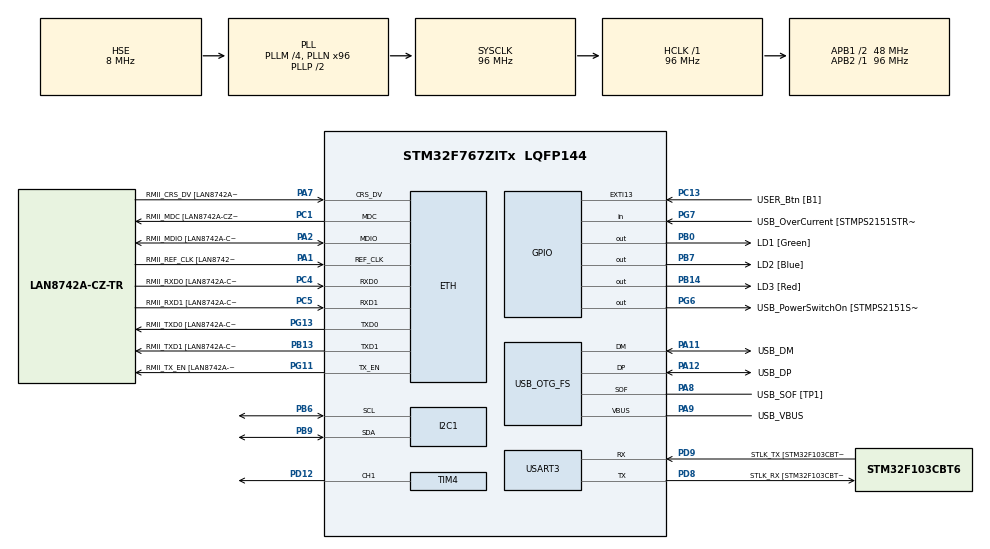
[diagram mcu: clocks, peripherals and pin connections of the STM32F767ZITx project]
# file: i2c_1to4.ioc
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CORTEX_M7.default_mode_Activation=1
ETH.MediaInterface=HAL_ETH_RMII_MODE
ETH.PHY_Name=LAN8742A_PHY_ADDRESS
ETH.PHY_Value=0
ETH.PhyAddress=0
I2C1.Timing=0x20303E5D
Mcu.Family=STM32F7
Mcu.Name=STM32F767ZITx
Mcu.Package=LQFP144
NVIC.PriorityGroup=NVIC_PRIORITYGROUP_4
NVIC.TIM3_IRQn=true\:0\:0\:false\:false\:true\:true\:true\:true
NVIC.USART3_IRQn=true\:0\:0\:false\:false\:true\:true\:true\:true
PA1.GPIO_Label=RMII_REF_CLK [LAN8742A-CZ-TR_REFCLK0]
PA1.Mode=RMII
PA1.Signal=ETH_REF_CLK
PA10.GPIO_Label=USB_ID
PA10.Signal=USB_OTG_FS_ID
PA11.GPIO_Label=USB_DM
PA11.Mode=Device_Only
PA11.Signal=USB_OTG_FS_DM
PA12.GPIO_Label=USB_DP
PA12.Mode=Device_Only
PA12.Signal=USB_OTG_FS_DP
PA13.GPIO_Label=TMS
PA13.Mode=Serial_Wire
PA13.Signal=SYS_JTMS-SWDIO
PA14.GPIO_Label=TCK
PA14.Mode=Serial_Wire
PA14.Signal=SYS_JTCK-SWCLK
PA2.GPIO_Label=RMII_MDIO [LAN8742A-CZ-TR_MDIO]
PA2.Mode=RMII
PA2.Signal=ETH_MDIO
PA7.GPIO_Label=RMII_CRS_DV [LAN8742A-CZ-TR_CRS_DV]
PA7.Mode=RMII
PA7.Signal=ETH_CRS_DV
PA8.GPIO_Label=USB_SOF [TP1]
PA8.Mode=Activate_SOF_FS
PA8.Signal=USB_OTG_FS_SOF
PA9.GPIO_Label=USB_VBUS
PA9.Mode=Activate_VBUS
PA9.Signal=USB_OTG_FS_VBUS
PB0.GPIO_Label=LD1 [Green]
PB0.Signal=GPIO_Output
PB13.GPIO_Label=RMII_TXD1 [LAN8742A-CZ-TR_TXD1]
PB13.Mode=RMII
PB13.Signal=ETH_TXD1
PB14.GPIO_Label=LD3 [Red]
PB14.Signal=GPIO_Output
PB3.GPIO_Label=SWO
PB3.Signal=SYS_JTDO-SWO
PB6.Mode=I2C
PB6.Signal=I2C1_SCL
PB7.GPIO_Label=LD2 [Blue]
PB7.Signal=GPIO_Output
PB9.Mode=I2C
PB9.Signal=I2C1_SDA
PC1.GPIO_Label=RMII_MDC [LAN8742A-CZ-TR_MDC]
PC1.Mode=RMII
PC1.Signal=ETH_MDC
PC13.GPIO_Label=USER_Btn [B1]
PC13.Signal=GPXTI13
PC14/OSC32_IN.Mode=LSE-External-Oscillator
PC14/OSC32_IN.Signal=RCC_OSC32_IN
PC15/OSC32_OUT.Mode=LSE-External-Oscillator
PC15/OSC32_OUT.Signal=RCC_OSC32_OUT
PC4.GPIO_Label=RMII_RXD0 [LAN8742A-CZ-TR_RXD0]
PC4.Mode=RMII
PC4.Signal=ETH_RXD0
PC5.GPIO_Label=RMII_RXD1 [LAN8742A-CZ-TR_RXD1]
PC5.Mode=RMII
PC5.Signal=ETH_RXD1
PD12.Signal=S_TIM4_CH1
PD8.GPIO_Label=STLK_RX [STM32F103CBT6_PA3]
PD8.Mode=Asynchronous
PD8.Signal=USART3_TX
PD9.GPIO_Label=STLK_TX [STM32F103CBT6_PA2]
PD9.Mode=Asynchronous
PD9.Signal=USART3_RX
PG11.GPIO_Label=RMII_TX_EN [LAN8742A-CZ-TR_TXEN]
PG11.Mode=RMII
PG11.Signal=ETH_TX_EN
PG13.GPIO_Label=RMII_TXD0 [LAN8742A-CZ-TR_TXD0]
PG13.Mode=RMII
PG13.Signal=ETH_TXD0
PG6.GPIO_Label=USB_PowerSwitchOn [STMPS2151STR_EN]
PG6.Signal=GPIO_Output
PG7.GPIO_Label=USB_OverCurrent [STMPS2151STR_FAULT]
PG7.Signal=GPIO_Input
PH0/OSC_IN.GPIO_Label=MCO [STM32F103CBT6_PA8]
PH0/OSC_IN.Mode=HSE-External-Clock-Source
PH0/OSC_IN.Signal=RCC_OSC_IN
PH1/OSC_OUT.Mode=HSE-External-Clock-Source
PH1/OSC_OUT.Signal=RCC_OSC_OUT
ProjectManager.HeapSize=0x200
ProjectManager.StackSize=0x400
ProjectManager.TargetToolchain=CMake
RCC.48MHZClocksFreq_Value=24000000
RCC.AHBFreq_Value=96000000
RCC.APB1CLKDivider=RCC_HCLK_DIV2
RCC.APB1Freq_Value=48000000
RCC.APB1TimFreq_Value=96000000
RCC.APB2Freq_Value=96000000
RCC.APB2TimFreq_Value=96000000
RCC.CortexFreq_Value=96000000
RCC.HCLKFreq_Value=96000000
RCC.HSE_VALUE=8000000
RCC.HSI_VALUE=16000000
RCC.PLLM=4
RCC.PLLMUL=RCC_PLL_MUL9
RCC.PLLN=96
RCC.PLLQ=4
RCC.PRESCALERUSB=RCC_USBCLKSOURCE_PLL_DIV1_5
RCC.SYSCLKFreq_VALUE=96000000
RCC.SYSCLKSource=RCC_SYSCLKSOURCE_PLLCLK
RCC.SYSCLKSourceVirtual=RCC_SYSCLKSOURCE_PLLCLK
RCC.USBFreq_Value=48000000
RCC.VCOOutputFreq_Value=192000000
SH.S_TIM4_CH1.0=TIM4_CH1,PWM Generation1 CH1
TIM3.Period=9999
TIM3.Prescaler=9599
TIM4.Channel-PWM\ Generation1\ CH1=TIM_CHANNEL_1
TIM4.Period=999
TIM4.Prescaler=95
USART3.VirtualMode-Asynchronous=VM_ASYNC
USB_OTG_FS.VirtualMode=Device_Only
VP_TIM3_VS_ClockSourceINT.Mode=Internal
VP_TIM4_VS_ClockSourceINT.Mode=Internal
board=NUCLEO-F767ZI

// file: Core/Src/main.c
/* USER CODE BEGIN Header */
/**
  ******************************************************************************
  * @file           : main.c
  * @brief          : Main program body
  ******************************************************************************
  * @attention
  *
  * Copyright (c) 2026 STMicroelectronics.
  * All rights reserved.
  *
  * This software is licensed under terms that can be found in the LICENSE file
  * in the root directory of this software component.
  * If no LICENSE file comes with this software, it is provided AS-IS.
  *
  ******************************************************************************
  */
/* USER CODE END Header */
#include "main.h"
#include "eth.h"
#include "i2c.h"
#include "tim.h"
#include "usart.h"
#include "usb_otg.h"
#include "gpio.h"

/* USER CODE BEGIN Includes */
#include "bh1750.h"
#include "string.h"
#include "stdio.h"
#include "stdbool.h"
#include "cJSON.h"
/* USER CODE END Includes */

/* USER CODE BEGIN PD */
#define MAX_LOGGER 100U
/* USER CODE END PD */

/* USER CODE BEGIN PV */
bool readLightRequest = false; // Flag to indicate a light intensity read request
bool printLightIntensity = false; // Flag to indicate whether to print light intensity

uint8_t rxByte; // Buffer for ONE byte of data from UART, so we can receive various length messages
char rxCommand[32]; // Buffer for whole message we receive
uint8_t rxLength = 0; // Length of the message from UART
bool rxDiscard = false; // In case if we write something after ";" character, so it wont be registered
bool commandReady = false; // Flag to indicate when we can use fucniton HandleCommand

uint16_t freq = 1; // Default frequency value

bool logger = false; // Flag for eneabling logging data
uint16_t loggerIndex = 0; // Starting index for light intensity array
uint16_t loggerFinish = 2; // Default logger array length
float loggerArray[MAX_LOGGER]; // Array for storing lux measurment

// Controlling led with PWM
float PWMvalue = 0.0f;
float PWMstep = 0.5f;
uint16_t PWMchannel = 0;
uint16_t compare_value;
//Static characteristics for led-sensor
bool do_characteristic = false;

/* USER CODE END PV */

void SystemClock_Config(void);
static void MPU_Config(void);

/* USER CODE BEGIN 0 */

void SendJSONArray(float* loggerArray)
{
  uint8_t opening = '[';
  uint8_t closing[] = "]\r\n";
  char part_of_message[10];
  HAL_UART_Transmit(&huart3,&opening,1,HAL_MAX_DELAY); // Opening brackets
  for(uint8_t i = 0; i < loggerFinish; i++)
  {
    char *separator = (i == 0) ? "" : ","; // Before out lux value we have ot either place nothing or comma
    snprintf(part_of_message, sizeof(part_of_message), "%s%.3f", separator, loggerArray[i]); // Putting together separator and value
    HAL_UART_Transmit(&huart3, (uint8_t*)part_of_message,(uint16_t)strlen(part_of_message),HAL_MAX_DELAY); //Sending vlaue iwth separator
  }
  HAL_UART_Transmit(&huart3,(uint8_t*)closing, sizeof(closing)-1, HAL_MAX_DELAY); // Closing brackets
}

bool AddCharacteristicPoint(cJSON *points, float pwmPercent, float lux)
{
  cJSON *point = cJSON_CreateObject();
  if (point == NULL)
  {
    return false;
  }

  if (cJSON_AddNumberToObject(point, "pwm_percent", pwmPercent) == NULL ||
      cJSON_AddNumberToObject(point, "illuminance_lux", lux) == NULL ||
      !cJSON_AddItemToArray(points, point))
  {
    cJSON_Delete(point);
    return false;
  }

  return true;
}

void HAL_TIM_PeriodElapsedCallback(TIM_HandleTypeDef *htim)
{
  if(htim->Instance == TIM3)
  {
    readLightRequest = true; // Set the flag to indicate a light intensity read request
  }
}

void HAL_UART_RxCpltCallback(UART_HandleTypeDef *huart)
{
  if(huart->Instance == USART3)
  {
    char receivedChar = (char)rxByte; // Convert the received byte to a character
    if(receivedChar == ';') // Check for command termination
    {
      rxCommand[rxLength] = '\0'; // Add \0 so it will be compatible with fucntions that expect C string
      commandReady = true; // Set the flag to indicate a complete command is ready
      rxLength = 0; // Reset the length for the next command
      rxDiscard = false; // Reset discard flag
    }
    else if(receivedChar == '\r' || receivedChar == '\n') // Ignore carriage return and newline characters
    {

    }
    else if(rxLength < sizeof(rxCommand) - 1) // Check if there's space in the buffer
    {
      if(!rxDiscard)
      {
        rxCommand[rxLength] = receivedChar; // Store the character
        rxLength++; // Increment index of array iwth our command
      }
    }
    else
    {
      rxDiscard = true; // If buffer is full, discard next bytes
    }
    HAL_UART_Receive_IT(&huart3, &rxByte, 1); // Continue receiving the next byte
  }
}

void HandleCommand(const char* command)
{
  if(strcmp(command, "print_on") == 0)
  {
    printLightIntensity = true;
  }
  else if(strcmp(command, "print_off") == 0)
  {
    printLightIntensity = false;
  }
  else if (sscanf(command, "freq=%hu", &freq) == 1) // Check if the command is a frequency setting command
  {
    uint16_t newARR = (uint16_t)((1.0f / (freq * 0.0001f)) - 1); // New autoreload value
    // Restart timer with new autorealod
    HAL_TIM_Base_Stop_IT(&htim3);
    __HAL_TIM_SET_COUNTER(&htim3, 0);
    __HAL_TIM_CLEAR_FLAG(&htim3, TIM_FLAG_UPDATE);
    __HAL_TIM_SET_AUTORELOAD(&htim3, newARR);
    HAL_TIM_Base_Start_IT(&htim3);
  }
  else if(sscanf(command, "logger=%hu", &loggerFinish) == 1)
  {
    logger = true; // Enable logger
  }
  else if(sscanf(command, "PWM%hu=%f", &PWMchannel, &PWMvalue) == 2)
  {
    if(PWMchannel == 1 && PWMvalue>=0.0f && PWMvalue<=100.0f)
    {
      __HAL_TIM_SET_COMPARE(&htim4,TIM_CHANNEL_1,PWMvalue*10); // Change the PWM value
      compare_value = __HAL_TIM_GET_COMPARE(&htim4,TIM_CHANNEL_1); // For debugging purposes
    }
  }
  else if(strcmp(command, "JSON_log") == 0)
  {
    do_characteristic = true;
  }
}

void LogLight(float lux)
{
  if(logger && (loggerIndex <= loggerFinish))
  {
    loggerArray[loggerIndex] = lux;
    loggerIndex++;
    if(loggerIndex == loggerFinish)
    {
      logger = false;
      loggerIndex = 0;
      SendJSONArray(loggerArray);
    }
  }
}
/* USER CODE END 0 */

int main(void)
{

  /* MPU Configuration--------------------------------------------------------*/
  MPU_Config();

  /* MCU Configuration--------------------------------------------------------*/

  /* Reset of all peripherals, Initializes the Flash interface and the Systick. */
  HAL_Init();

  /* Configure the system clock */
  SystemClock_Config();

  /* Initialize all configured peripherals */
  MX_GPIO_Init();
  MX_ETH_Init();
  MX_USART3_UART_Init();
  MX_USB_OTG_FS_PCD_Init();
  MX_I2C1_Init();
  MX_TIM3_Init();
  MX_TIM4_Init();
  /* USER CODE BEGIN 2 */
  BH1750 sensor;
  uint8_t BH1750_ADDRESS = 0b0100011; // BH1750 I2C address (shifted for HAL)
  float lux = 0.0f;
  char message[30]; // Message buffer for UART transmission
  BH1750_Init(&sensor, &hi2c1, BH1750_ADDRESS);
  HAL_TIM_Base_Start_IT(&htim3); // Start the timer for periodic measurements
  HAL_UART_Receive_IT(&huart3, &rxByte, 1); // Start UART reception in interrupt mode
  HAL_TIM_PWM_Start(&htim4,TIM_CHANNEL_1);
  //Static characteristic
  cJSON *points = NULL;

  /* USER CODE END 2 */

  /* Infinite loop */
  /* USER CODE BEGIN WHILE */
  while (1)
  {
    if(commandReady)
    {
      commandReady = false; // Reset the flag
      HandleCommand(rxCommand); // Process the received command
    }
    if (do_characteristic && points == NULL)
    {
      points = cJSON_CreateArray();

      if (points == NULL)
      {
        do_characteristic = false;
      }
      else
      {
        PWMvalue = 0.0f;
        __HAL_TIM_SET_COMPARE(&htim4, TIM_CHANNEL_1, 0);
        readLightRequest = false;
      }
    }
    if(readLightRequest)
    {
      readLightRequest = false; // Reset the flag
      if(BH1750_ReadLightIntensity(&sensor, &lux) == HAL_OK)
      {
        snprintf(message,sizeof(message),"Light Intensity: %.2f lux\r\n",lux);
        LogLight(lux);
        if(printLightIntensity)
        {
          HAL_UART_Transmit(&huart3, (uint8_t*)message, strlen(message), HAL_MAX_DELAY);
        }
        if(do_characteristic && points != NULL)
        {
          AddCharacteristicPoint(points,PWMvalue,lux);
          if(PWMvalue+PWMstep>100.0f)
          {
            do_characteristic = false;
            char *json = cJSON_PrintUnformatted(points);
            PWMvalue = 0.0f;
            __HAL_TIM_SET_COMPARE(&htim4, TIM_CHANNEL_1, 0);
            if(json != NULL)
            {
              HAL_UART_Transmit(&huart3,(uint8_t*)json,(uint16_t)strlen(json), HAL_MAX_DELAY);
              HAL_UART_Transmit(&huart3, (uint8_t *)"\r\n", 2, HAL_MAX_DELAY);
              cJSON_free(json);
            }
            cJSON_Delete(points);
            points = NULL;
          }
          else
          {
            PWMvalue+=PWMstep;
            __HAL_TIM_SET_COMPARE(&htim4,TIM_CHANNEL_1,PWMvalue*10); // Change the PWM value
          }
        }
      }
      else
      {
        // Handle error in reading light intensity
      }
    }
    /* USER CODE END WHILE */

  }
}

void SystemClock_Config(void)
{
  RCC_OscInitTypeDef RCC_OscInitStruct = {0};
  RCC_ClkInitTypeDef RCC_ClkInitStruct = {0};

  /** Configure LSE Drive Capability
  */
  HAL_PWR_EnableBkUpAccess();

  /** Configure the main internal regulator output voltage
  */
  __HAL_RCC_PWR_CLK_ENABLE();
  __HAL_PWR_VOLTAGESCALING_CONFIG(PWR_REGULATOR_VOLTAGE_SCALE3);

  /** Initializes the RCC Oscillators according to the specified parameters
  * in the RCC_OscInitTypeDef structure.
  */
  RCC_OscInitStruct.OscillatorType = RCC_OSCILLATORTYPE_HSE;
  RCC_OscInitStruct.HSEState = RCC_HSE_BYPASS;
  RCC_OscInitStruct.PLL.PLLState = RCC_PLL_ON;
  RCC_OscInitStruct.PLL.PLLSource = RCC_PLLSOURCE_HSE;
  RCC_OscInitStruct.PLL.PLLM = 4;
  RCC_OscInitStruct.PLL.PLLN = 96;
  RCC_OscInitStruct.PLL.PLLP = RCC_PLLP_DIV2;
  RCC_OscInitStruct.PLL.PLLQ = 4;
  RCC_OscInitStruct.PLL.PLLR = 2;
  if (HAL_RCC_OscConfig(&RCC_OscInitStruct) != HAL_OK)
  {
    Error_Handler();
  }

  /** Activate the Over-Drive mode
  */
  if (HAL_PWREx_EnableOverDrive() != HAL_OK)
  {
    Error_Handler();
  }

  /** Initializes the CPU, AHB and APB buses clocks
  */
  RCC_ClkInitStruct.ClockType = RCC_CLOCKTYPE_HCLK|RCC_CLOCKTYPE_SYSCLK
                              |RCC_CLOCKTYPE_PCLK1|RCC_CLOCKTYPE_PCLK2;
  RCC_ClkInitStruct.SYSCLKSource = RCC_SYSCLKSOURCE_PLLCLK;
  RCC_ClkInitStruct.AHBCLKDivider = RCC_SYSCLK_DIV1;
  RCC_ClkInitStruct.APB1CLKDivider = RCC_HCLK_DIV2;
  RCC_ClkInitStruct.APB2CLKDivider = RCC_HCLK_DIV1;

  if (HAL_RCC_ClockConfig(&RCC_ClkInitStruct, FLASH_LATENCY_3) != HAL_OK)
  {
    Error_Handler();
  }
}

 /* MPU Configuration */

void MPU_Config(void)
{
  MPU_Region_InitTypeDef MPU_InitStruct = {0};

  /* Disables the MPU */
  HAL_MPU_Disable();

  /** Initializes and configures the Region and the memory to be protected
  */
  MPU_InitStruct.Enable = MPU_REGION_ENABLE;
  MPU_InitStruct.Number = MPU_REGION_NUMBER0;
  MPU_InitStruct.BaseAddress = 0x0;
  MPU_InitStruct.Size = MPU_REGION_SIZE_4GB;
  MPU_InitStruct.SubRegionDisable = 0x87;
  MPU_InitStruct.TypeExtField = MPU_TEX_LEVEL0;
  MPU_InitStruct.AccessPermission = MPU_REGION_NO_ACCESS;
  MPU_InitStruct.DisableExec = MPU_INSTRUCTION_ACCESS_DISABLE;
  MPU_InitStruct.IsShareable = MPU_ACCESS_SHAREABLE;
  MPU_InitStruct.IsCacheable = MPU_ACCESS_NOT_CACHEABLE;
  MPU_InitStruct.IsBufferable = MPU_ACCESS_NOT_BUFFERABLE;

  HAL_MPU_ConfigRegion(&MPU_InitStruct);
  /* Enables the MPU */
  HAL_MPU_Enable(MPU_PRIVILEGED_DEFAULT);

}

void Error_Handler(void)
{
  __disable_irq();
  while (1)
  {
  }
}
